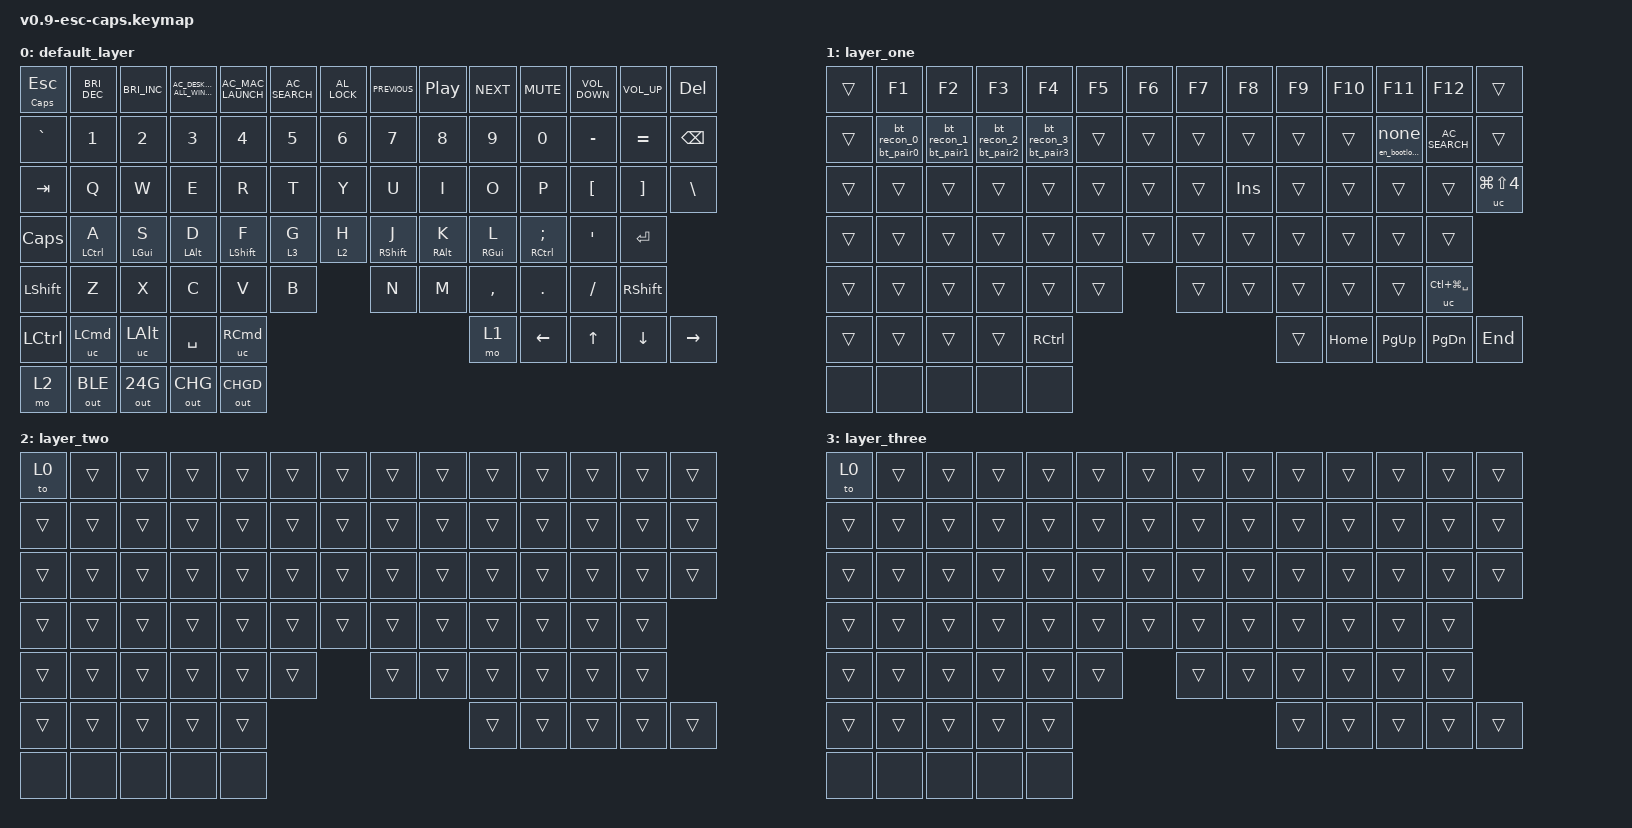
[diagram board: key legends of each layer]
/*
 * Copyright (c) 2023 The ZMK Contributors
 *
 * SPDX-License-Identifier: MIT
 */

#include <behaviors.dtsi>
#include <dt-bindings/zmk/keys.h>
#include <dt-bindings/zmk/rgb.h>
#include <dt-bindings/zmk/bt.h>
#include <dt-bindings/zmk/outputs.h>

/ {
    ZMK_MACRO(recover, bindings = <&out OUT_RECOVER>;)
    ZMK_MACRO(change, bindings = <&out OUT_FN>;)
    ZMK_MACRO(fn_win, bindings = <&out OUT_FN_WIN>;)

    ZMK_MACRO(en_bootloader, bindings = <&bootloader>;)
    ZMK_MACRO1(MA,bindings=<&kp 0x770000>;)

    long_press_recover:l1 {
        compatible = "zmk,behavior-hold-tap";
        label = "l1";
        #binding-cells = <2>;
        flavor = "tap-preferred";
        tapping-term-ms = <3000>;  // delay amount in ms
        bindings = <&recover>, <&none>;
    };

    long_press_change:l2{
        compatible = "zmk,behavior-hold-tap";
        label = "lp_change";
        #binding-cells = <2>;
        flavor = "tap-preferred";
        tapping-term-ms = <3000>;  // delay amount in ms
        bindings = <&change>, <&none>;
    };
    long_press_bootloader:l3{
        compatible = "zmk,behavior-hold-tap";
        label = "lp_bootloader";
        #binding-cells = <2>;
        flavor = "tap-preferred";
        tapping-term-ms = <3000>;  // delay amount in ms
        bindings = <&en_bootloader>, <&none>;
    };
    long_press_fn_win:l4{
        compatible = "zmk,behavior-hold-tap";
        label = "lp_fn_win";
        #binding-cells = <2>;
        flavor = "tap-preferred";
        tapping-term-ms = <3000>;   
        bindings = <&fn_win>, <&none>;
    };

    esc_caps: esc_caps {
        compatible = "zmk,behavior-hold-tap";
        label = "ESC_CAPS";
        #binding-cells = <2>;
        flavor = "tap-preferred";
        tapping-term-ms = <600>;
        quick-tap-ms = <200>;
        bindings = <&kp>, <&kp>;
    };

    lhm: left_homerow_mods {
        compatible = "zmk,behavior-hold-tap";
        label = "LEFT_HOMEROW_MODS";
        #binding-cells = <2>;
        flavor = "tap-preferred";
        tapping-term-ms = <200>;
        quick-tap-ms = <175>;
        require-prior-idle-ms = <150>;
        hold-trigger-on-release;
        hold-trigger-key-positions = <
            7 8 9 10 11 12
            20 21 22 23 24 25 26
            34 35 36 37 38 39 40
            47 48 49 50 51 52 53
            60 61 62 63 64 65
            70 71 72 73 74 75
        >;
        bindings = <&kp>, <&kp>;
    };

    rhm: right_homerow_mods {
        compatible = "zmk,behavior-hold-tap";
        label = "RIGHT_HOMEROW_MODS";
        #binding-cells = <2>;
        flavor = "tap-preferred";
        tapping-term-ms = <200>;
        quick-tap-ms = <175>;
        require-prior-idle-ms = <150>;
        hold-trigger-on-release;
        hold-trigger-key-positions = <
            0 1 2 3 4 5 6
            13 14 15 16 17 18 19
            27 28 29 30 31 32 33
            41 42 43 44 45 46
            54 55 56 57 58 59
            66 67 68 69
        >;
        bindings = <&kp>, <&kp>;
    };
   


    combos1 {
        compatible = "zmk,combos";
        combo_jz {
            timeout-ms = <1000>;
            layers = <1 3>;
            key-positions = <49 56>; //fn+j+z
            bindings = <&long_press_recover 0 0>;
        };
        combo_xl {
            timeout-ms = <1000>;
            layers =< 1 3>;
            key-positions = <57 51>; //fn+x+l
            bindings = <&long_press_change 0 0>;
        };
        combo_b {
            timeout-ms = <1000>;
            layers =< 1 3>;
            //slow-release = <true>;
            key-positions = <60>; //fn+b
            bindings = <&out OUT_BAT>;
        };

        combo_win_l {
            timeout-ms = <1000>;
            layers =< 1 3>;
            //slow-release = <true>;
            key-positions = <68>; //fn+win
            bindings = <&long_press_fn_win 0 0>;
        };

        combo_t0 {
            timeout-ms = <10 >;
            layers =<4>;
          
            key-positions = <80 90>;  
            bindings = <&to 3 >;
        };
        combo_t1 {
            timeout-ms = <10 >;
            layers =<4>;
          
            key-positions = <80 91>;  
            bindings = <&tog 3 >;
        };
        combo_t2 {
            timeout-ms = <10 >;
            layers =<4>;
          
            key-positions = <80 92>;  
            bindings = <&sl 3 >;
        };
        combo_t3 {
            timeout-ms = <10 >;
            layers =<4>;
          
            key-positions = <70 93>;  
            bindings = <&lt 3 SPACE>;
        };
        combo_t4 {
            timeout-ms = <10 >;
            layers =<4>;
          
            key-positions = <81 94>;  
            bindings = <&sk LSHIFT>;
        };
        combo_t5 {
            timeout-ms = <10 >;
            layers =<4>;
          
            key-positions = <81 93>;  
            bindings = <&mt LSHIFT SPACE>;
        };
        combo_t6 {
            timeout-ms = <10 >;
            layers =<4>;
          
            key-positions = <81 93>;  
            bindings = <&gresc>;
        };
    };

    td0 {
        compatible = "zmk,behavior-tap-dance";
        label = "TAPD_LAYER";
        #binding-cells = <1>;
        tapping-term-ms = <350>;
        bindings =<&mo 0>,<&mo 0>,<&mo 0>,<&mo 0>,<&to 0>;
    };
    ZMK_MACRO(bt_pair0, bindings = <&bt BT_PAIR 0>;)
    ZMK_MACRO(bt_pair1, bindings = <&bt BT_PAIR 1>;)
    ZMK_MACRO(bt_pair2, bindings = <&bt BT_PAIR 2>;)
    ZMK_MACRO(bt_pair3, bindings = <&bt BT_PAIR 3>;)
    ZMK_MACRO(bt_recon_0, bindings = <&bt BT_SEL 0>;)
    ZMK_MACRO(bt_recon_1, bindings = <&bt BT_SEL 1>;)
    ZMK_MACRO(bt_recon_2, bindings = <&bt BT_SEL 2>;)
    ZMK_MACRO(bt_recon_3, bindings = <&bt BT_SEL 3>;)
    


    bt_pair_0: bt_pair_0 {
        compatible = "zmk,behavior-hold-tap";
        label = "bt_pair0";
        #binding-cells = <2>;
        flavor = "tap-preferred";
        tapping-term-ms = <3000>;  // delay amount in ms
        bindings = <&bt_pair0>, <&bt_recon_0>;
    };
    bt_pair_1: bt_pair_1 {
        compatible = "zmk,behavior-hold-tap";
        label = "bt_pair1";
        #binding-cells = <2>;
        flavor = "tap-preferred";
        tapping-term-ms = <3000>;  // delay amount in ms
        bindings = <&bt_pair1>, <&bt_recon_1>;
    };
    bt_pair_2: bt_pair_2 {
        compatible = "zmk,behavior-hold-tap";
        label = "bt_pair2";
        #binding-cells = <2>;
        flavor = "tap-preferred";
        tapping-term-ms = <3000>;  // delay amount in ms
        bindings = <&bt_pair2>, <&bt_recon_2>;
    };
    bt_pair_3: bt_pair_3 {
        compatible = "zmk,behavior-hold-tap";
        label = "bt_pair3";
        #binding-cells = <2>;
        flavor = "tap-preferred";
        tapping-term-ms = <3000>;  // delay amount in ms
        bindings = <&bt_pair3>, <&bt_recon_3>;
    };
    uc:user_custom {
        compatible = "zmk,behavior-key-press";
        label ="user_custom";
        #binding-cells =<1>;
    };

	keymap {
    	compatible = "zmk,keymap";
            //mac
        default_layer {
        bindings = <
          //ESC         //f1                    //f2                //f3                                    //f4                //f5                //f6            //f7            //f8                //f9        //f10       //f11               //f12               //DEL                                              
        &esc_caps CLCK ESC     &kp C_BRIGHTNESS_DEC    &kp C_BRIGHTNESS_INC    &kp C_AC_DESKTOP_SHOW_ALL_WINDOWS   &kp  C_AC_MAC_LAUNCH    &kp C_AC_SEARCH     &kp C_AL_LOCK   &kp C_PREVIOUS  &kp C_PLAY_PAUSE    &kp C_NEXT  &kp C_MUTE  &kp C_VOLUME_DOWN   &kp C_VOLUME_UP     &kp DEL
        &kp GRAVE   &kp N1                  &kp N2                  &kp N3                              &kp N4                  &kp N5              &kp N6          &kp N7          &kp N8              &kp N9      &kp N0      &kp MINUS           &kp EQUAL           &kp BSPC 
        &kp TAB     &kp Q                   &kp W                   &kp E                               &kp R                   &kp T               &kp Y           &kp U           &kp I               &kp O       &kp P       &kp LBKT            &kp RBKT            &kp BSLH      
        &kp CLCK    &lhm LCTRL A            &lhm LGUI S             &lhm LALT D                         &lhm LSHFT F            &lt 3 G             &lt 2 H         &rhm RSHFT J    &rhm RALT K         &rhm RGUI L &rhm RCTRL SEMI &kp SQT                         &kp RET                                         
        &kp LSHFT   &kp Z                   &kp X                   &kp C                               &kp V                   &kp B               &kp N           &kp M           &kp COMMA           &kp DOT     &kp FSLH                                    &kp RSHFT 
        &kp LCTRL   &uc LCMD                &uc LALT                       &kp SPACE                                                                                                &uc RCMD            &mo 1       &kp LEFT    &kp UP              &kp DOWN            &kp RIGHT   
        &mo 2       &out OUT_BLE            &out OUT_24G            &out OUT_CHG                        &out OUT_CHGD 
            >;
        };
        //mac
        layer_one  {
        bindings = < 
        &trans      &kp F1                  &kp F2                  &kp F3                              &kp F4                  &kp F5              &kp F6          &kp F7          &kp F8              &kp F9      &kp F10     &kp F11             &kp F12             &trans    
        &trans      &bt_pair_0 0 0          &bt_pair_1 0 0          &bt_pair_2 0 0                      &bt_pair_3 0 0          &trans              &trans          &trans          &trans              &trans      &trans      &long_press_bootloader 0 0 &kp C_AC_SEARCH     &trans      
        &trans      &trans                  &trans                  &trans                              &trans                  &trans              &trans          &trans          &kp INS             &trans      &trans      &trans              &trans              &uc LG(LS(N4))
        &trans      &trans                  &trans                  &trans                              &trans                  &trans              &trans          &trans          &trans              &trans      &trans      &trans                      &trans                  
        &trans      &trans                  &trans                  &trans                              &trans                  &trans              &trans          &trans          &trans              &trans      &trans                                  &uc LC(LG(SPACE))
        &trans      &trans                  &trans                         &trans                                                                                                   &kp RCTRL           &trans        &kp HOME   &kp PG_UP   &kp PG_DN    &kp END  
        //
        &none       &none                   &none                   &none                               &none
            >;
        };
        //layer_two -> SYMBOL_LEFT (activated by H)
        layer_two {
 		bindings = <
        &to 0 	    &trans                 &trans                   &trans                              &trans                  &trans              &trans          &trans          &trans              &trans       &trans     &trans               &trans              &trans      
        &trans      &trans                 &trans                   &trans                              &trans                  &trans              &trans          &trans          &trans              &trans       &trans     &trans               &trans              &trans
        &trans      &trans                 &trans                   &trans                              &trans                  &trans              &trans          &trans          &trans              &trans       &trans     &trans               &trans              &trans      
        &trans      &trans                 &trans                   &trans                              &trans                  &trans              &trans          &trans          &trans              &trans       &trans     &trans                           &trans
        &trans      &trans                 &trans                   &trans                              &trans                  &trans              &trans          &trans          &trans              &trans       &trans                                  &trans              
        &trans      &trans                 &trans                        &trans                                                                                                     &trans              &trans        &trans     &trans      &trans       &trans      
        //
        &none       &none                  &none                    &none                               &none 
            >;
        };
        //layer_three -> SYMBOL_RIGHT (activated by G)
        layer_three {
        bindings = < 
        &to 0 	    &trans                 &trans                   &trans                              &trans                  &trans              &trans          &trans          &trans              &trans       &trans     &trans               &trans              &trans      
        &trans      &trans                 &trans                   &trans                              &trans                  &trans              &trans          &trans          &trans              &trans       &trans     &trans               &trans              &trans
        &trans      &trans                 &trans                   &trans                              &trans                  &trans              &trans          &trans          &trans              &trans       &trans     &trans               &trans              &trans      
        &trans      &trans                 &trans                   &trans                              &trans                  &trans              &trans          &trans          &trans              &trans       &trans     &trans                           &trans
        &trans      &trans                 &trans                   &trans                              &trans                  &trans              &trans          &trans          &trans              &trans       &trans                                  &trans              
        &trans      &trans                 &trans                        &trans                                                                                                     &trans              &trans        &trans     &trans      &trans       &trans      
        //
        &none       &none                  &none                    &none                               &none 
            >;
        };
   

    	
    
	};
};

	
